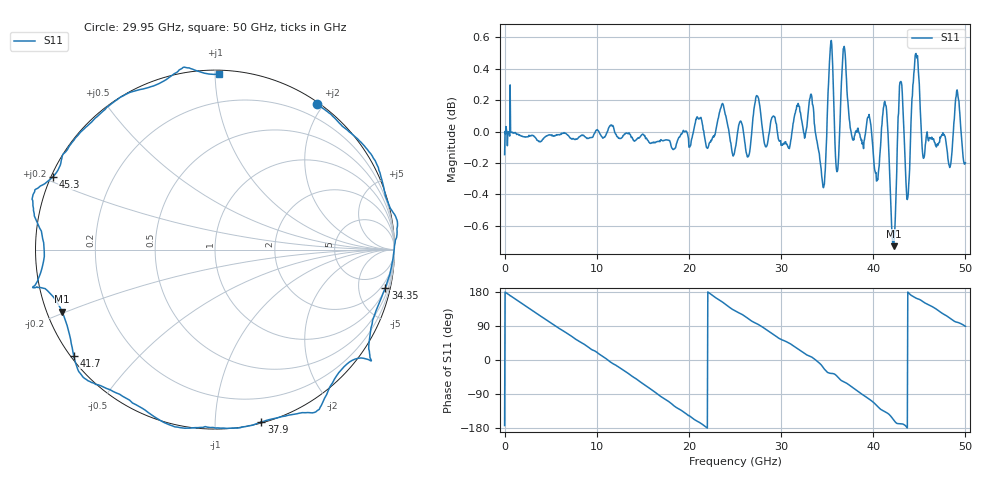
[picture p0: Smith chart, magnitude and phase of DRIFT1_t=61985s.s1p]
!Created with skrf (http://scikit-rf.org).
# Hz S RI R 50.0
!freq ReS11 ImS11
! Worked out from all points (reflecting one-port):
!   1001 points, 300 kHz to 50 GHz, reference 50 ohm
!   lowest |S11| = -0.7 dB at 42.2 GHz (marker M1), VSWR 23.79, Z = 2.18 - j9.75 ohm
!   phase of S11 starts at -173 deg and turns -818 deg over the sweep
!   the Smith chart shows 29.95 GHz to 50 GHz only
!   S11 on the Smith chart (normalised r, x): 29.95 GHz: 0.02, +1.92; 34.35 GHz: 1.12, -8.88; 37.9 GHz: 0.01, -1.30; 41.7 GHz: 0.01, -0.33; 45.3 GHz: 0.01, +0.22; 50 GHz: 0.02, +1.02
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300000  -0.9758 -0.1205
1.450291e9  -0.9127 0.4041
3.25028e9  -0.5928 0.8004
6.250262e9  0.1992 0.9786
9.500243e9  0.8886 0.4495
1.250022e10  0.9311 -0.3508
1.580021e10  0.2417 -0.9615
1.73502e10  -0.2106 -0.971
1.875019e10  -0.5983 -0.7928
2.155017e10  -0.9899 -0.1496
2.345016e10  -0.9299 0.4126
2.500015e10  -0.6298 0.7599
2.745014e10  -0.0845 1.023
2.995012e10  0.5693 0.814
3.125011e10  0.7825 0.6269
3.31501e10  1.01 0.1727
3.435009e10  0.9492 -0.2131
3.520009e10  0.8626 -0.5882
3.750008e10  0.3766 -0.9296
3.790007e10  0.2576 -0.96
3.960006e10  -0.2378 -0.9819
4.170005e10  -0.7872 -0.5909
4.220005e10  -0.8518 -0.3459
4.290004e10  -1.015 -0.2118
4.375004e10  -0.9526 0.0105
4.530003e10  -0.9015 0.4066
4.765001e10  -0.5097 0.8575
5e10  0.0198 0.9772
